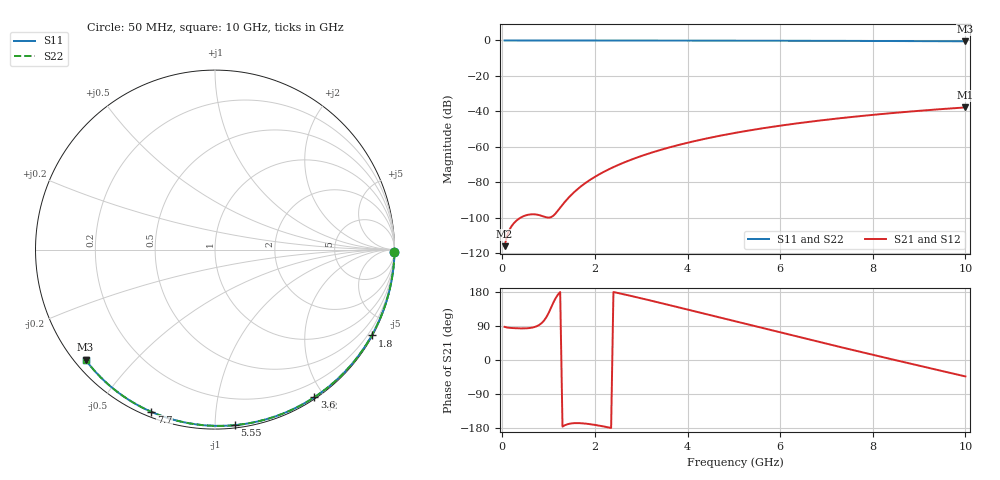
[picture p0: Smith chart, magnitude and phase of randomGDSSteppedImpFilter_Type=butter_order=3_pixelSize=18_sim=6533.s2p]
! freq	dB(S11)	phase(S11)	dB(S12)	phase(S12)
!  dB(S21)	phase(S21)	dB(S22)	phase(S22)
!S-par simulation data
#  GHz  S  DB  R 50
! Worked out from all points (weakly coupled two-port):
!   200 points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, 50 MHz to 10 GHz, reference 50 ohm
!   highest |S21| = -37.79 dB at 10 GHz (marker M1); lowest = -116.1 dB at 50 MHz (marker M2)
!   lowest |S11| = -0.5 dB at 10 GHz (marker M3), VSWR 36.79, Z = 1.54 - j18.4 ohm
!   |S11| at or under -10 dB: nowhere
!   |S22| runs from -0.5 to 0.0 dB; largest |S21 - S12| = 0
!   S11 on the Smith chart (normalised r, x): 50 MHz: open; 1.8 GHz: 0.03, -3.91; 3.6 GHz: 0.02, -1.88; 5.55 GHz: 0.02, -1.12; 7.7 GHz: 0.02, -0.68; 10 GHz: 0.03, -0.37
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0.05  -0.00 -0.8  -116.10 87.5  -116.10 87.5  -0.00 -0.8
0.45  -0.01 -7.3  -99.27 83.4  -99.27 83.4  -0.01 -7.3
0.9  -0.02 -14.5  -99.42 103.9  -99.42 103.9  -0.02 -14.5
1.75  -0.04 -27.9  -81.33 -167.3  -81.33 -167.3  -0.04 -27.9
1.8  -0.04 -28.7  -80.37 -167.9  -80.37 -167.9  -0.04 -28.7
1.85  -0.04 -29.5  -79.47 -168.6  -79.47 -168.6  -0.04 -29.5
2.05  -0.04 -32.6  -76.20 -172.3  -76.20 -172.3  -0.04 -32.6
2.2  -0.04 -34.9  -74.05 -175.6  -74.05 -175.6  -0.04 -34.9
2.55  -0.05 -40.3  -69.73 175.4  -69.73 175.4  -0.05 -40.3
2.95  -0.06 -46.4  -65.69 164.2  -65.69 164.2  -0.06 -46.4
3.4  -0.07 -53.1  -61.91 151.1  -61.91 151.1  -0.07 -53.1
3.6  -0.08 -56.0  -60.42 145.1  -60.42 145.1  -0.08 -56.0
3.9  -0.08 -60.4  -58.38 136.1  -58.38 136.1  -0.08 -60.4
4.3  -0.09 -66.2  -55.95 124.0  -55.95 124.0  -0.09 -66.2
5.05  -0.12 -76.7  -52.07 101.3  -52.07 101.3  -0.12 -76.7
5.55  -0.14 -83.5  -49.87 86.2  -49.87 86.2  -0.14 -83.5
6.1  -0.16 -90.9  -47.73 69.7  -47.73 69.7  -0.16 -90.9
6.7  -0.19 -98.7  -45.68 51.9  -45.68 51.9  -0.19 -98.7
7.7  -0.26 -111.4  -42.77 22.5  -42.77 22.5  -0.26 -111.4
8.35  -0.31 -119.5  -41.15 3.7  -41.15 3.7  -0.31 -119.5
9.2  -0.38 -129.9  -39.30 -20.7  -39.30 -20.7  -0.38 -129.9
10  -0.47 -139.6  -37.79 -43.3  -37.79 -43.3  -0.47 -139.6
